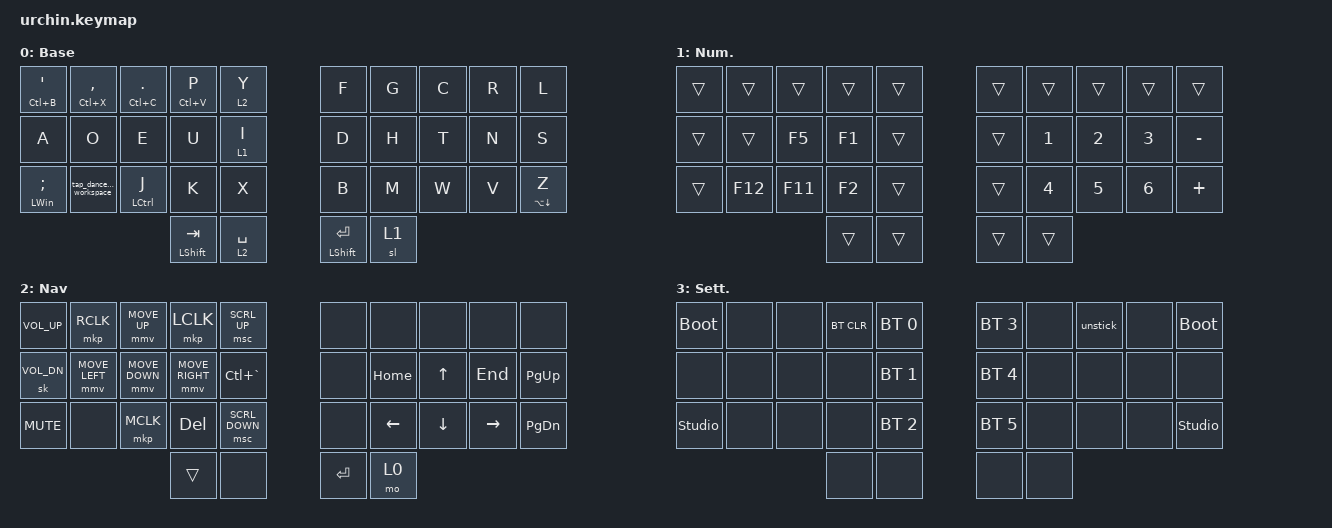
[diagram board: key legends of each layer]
/*
 * Copyright (c) 2020 duckyb
 *
 * SPDX-License-Identifier: MIT
 */

#include <behaviors.dtsi>
#include <dt-bindings/zmk/bt.h>
#include <dt-bindings/zmk/keys.h>
#include <dt-bindings/zmk/pointing.h>

// Layer definitions

#define BASE 0
#define SYM 1
#define EXT 2
#define FNC 3
#define SYM2 4
#define ACCENT 5
#define SETTINGS 6

// -----------------

&sk {
    // don't release mods on other mods presses

    ignore-modifiers;
};

/ {
    behaviors {
        // Enables holding the first mod-tap key
        // by performing a tap-release-hold sequence.
        // To use it: "&qt KEYCODE1 KEYCODE2"

        qt: quick_tap {
            compatible = "zmk,behavior-hold-tap";
            label = "QUICK_TAP";
            #binding-cells = <2>;
            flavor = "hold-preferred";
            tapping-term-ms = <200>;
            quick-tap-ms = <200>;
            bindings = <&kp>, <&kp>;
        };

        bhv_backspace_delete: bhv_backspace_delete {
            compatible = "zmk,behavior-mod-morph";
            label = "BHV_BACKSPACE_DELETE";
            bindings = <&kp BACKSPACE>, <&kp DELETE>;

            #binding-cells = <0>;
            mods = <(MOD_LSFT)>;
        };

        bhv_shft_bracket: bhv_shft_bracket {
            compatible = "zmk,behavior-mod-morph";
            label = "BHV_SHFT_BRACKET";
            bindings = <&macro_open_close_paren>, <&macro_opn_cls_square>;

            #binding-cells = <0>;
            mods = <(MOD_LSFT)>;
        };

        HMShiftL: HMShiftL {
            compatible = "zmk,behavior-hold-tap";
            label = "HMSHIFTL";
            bindings = <&kp>, <&kp>;

            #binding-cells = <2>;
            tapping-term-ms = <280>;
            hold-while-undecided;
            hold-trigger-on-release;
            hold-trigger-key-positions = <0 1 2 3 4 10 11 12 13 14 20 21 22 23 24>;
        };

        HMShiftR: HMShiftR {
            compatible = "zmk,behavior-hold-tap";
            label = "HMSHIFTR";
            bindings = <&kp>, <&kp>;

            #binding-cells = <2>;
            tapping-term-ms = <280>;
            hold-while-undecided;
            hold-trigger-on-release;
            hold-trigger-key-positions = <5 6 7 8 9 15 16 17 18 19 25 26 27 28 29>;
        };

        HML: HML {
            compatible = "zmk,behavior-hold-tap";
            label = "HML";
            bindings = <&kp>, <&kp>;

            #binding-cells = <2>;
            tapping-term-ms = <280>;
            hold-while-undecided;
            hold-trigger-on-release;
            hold-trigger-key-positions = <0 1 2 3 4 10 11 12 13 14 20 21 22 23 24 30 31>;
            flavor = "balanced";
        };

        HMR: HMR {
            compatible = "zmk,behavior-hold-tap";
            label = "HMR";
            bindings = <&kp>, <&kp>;

            #binding-cells = <2>;
            tapping-term-ms = <280>;
            hold-while-undecided;
            hold-trigger-on-release;
            hold-trigger-key-positions = <5 6 7 8 7 8 9 17 18 19 27 28 29 5 6 7 8 15 16 17 18 25 26 27 28 32 33>;
            flavor = "balanced";
        };

        tap_dance_q_workspace: tap_dance_q_workspace {
            compatible = "zmk,behavior-tap-dance";
            label = "TAP_DANCE_Q_WORKSPACE";
            #binding-cells = <0>;
            tapping-term-ms = <200>;
            bindings = <&mt LEFT_ALT Q>, <&mcr_show_workspaces>;
        };
    };

    macros {
        // sometimes my device thinks a modifier is being held down
        // pressing all modifiers fixes it.

        unstick: unstick {
            label = "ZM_unstick";
            compatible = "zmk,behavior-macro";
            #binding-cells = <0>;
            bindings = <&kp LSHIFT &kp RSHIFT &kp LCTRL &kp RCTRL &kp LALT &kp RALT &kp LGUI &kp RGUI>;
        };

        macro_open_close_paren: macro_open_close_paren {
            compatible = "zmk,behavior-macro";
            #binding-cells = <0>;
            bindings = <&kp LPAR &kp RPAR &kp LEFT_ARROW>;
            label = "MACRO_OPEN_CLOSE_PAREN";
        };

        macro_opn_cls_square: macro_opn_cls_square {
            compatible = "zmk,behavior-macro";
            #binding-cells = <0>;
            bindings = <&kp LBKT &kp RIGHT_BRACKET &kp LEFT_ARROW>;
            label = "MACRO_OPN_CLS_SQUARE";
        };

        mcr_show_workspaces: mcr_show_workspaces {
            compatible = "zmk,behavior-macro";
            #binding-cells = <0>;
            bindings = <&kp LC(LA(UP_ARROW))>;
            label = "MCR_SHOW_WORKSPACES";
        };

        mcr_text_and: mcr_text_and {
            compatible = "zmk,behavior-macro";
            #binding-cells = <0>;
            bindings = <&kp A &kp N &kp D>;
            label = "MCR_TEXT_AND";
        };

        mcr_text_the: mcr_text_the {
            compatible = "zmk,behavior-macro";
            #binding-cells = <0>;
            bindings = <&kp T &kp H &kp E>;
            label = "MCR_TEXT_THE";
        };

        mcr_text_you: mcr_text_you {
            compatible = "zmk,behavior-macro";
            #binding-cells = <0>;
            bindings = <&kp Y &kp O &kp U>;
            label = "MCR_TEXT_YOU";
        };
    };

    combos {
        compatible = "zmk,combos";

        // both right thumb keys
        // internal-left & external-right thumb keys
        // both left thumb keys

        combo_settings {
            timeout-ms = <200>;
            key-positions = <31 30>;
            bindings = <&mo 3>;
            layers = <3>;
        };

        // left index & middle fingers (home-row)
        // hold control & space for Adobe workflow

        combo_excl {
            bindings = <&kp EXCL>;
            key-positions = <5 15>;
        };

        combo_backspace {
            bindings = <&bhv_backspace_delete>;
            key-positions = <7 8>;
        };

        combo_question {
            bindings = <&kp QUESTION>;
            key-positions = <15 25>;
        };

        combo_plus {
            bindings = <&kp PLUS>;
            key-positions = <6 16>;
        };

        combo_minus {
            bindings = <&kp MINUS>;
            key-positions = <16 26>;
        };

        combo_multiply {
            bindings = <&kp ASTERISK>;
            key-positions = <7 17>;
        };

        combo_divide {
            bindings = <&kp SLASH>;
            key-positions = <17 27>;
        };

        combo_right_square {
            bindings = <&kp RIGHT_BRACKET>;
            key-positions = <5 6>;
        };

        combo_right_paren {
            bindings = <&kp RIGHT_PARENTHESIS>;
            key-positions = <15 16>;
        };

        combo_right_curly {
            bindings = <&kp RIGHT_BRACE>;
            key-positions = <25 26>;
        };

        combo_colon {
            bindings = <&kp COLON>;
            key-positions = <26 27>;
            layers = <0>;
        };

        combo_save_doc {
            bindings = <&kp LC(S)>;
            key-positions = <27 28>;
            layers = <0>;
        };

        combo_find {
            bindings = <&kp LC(F)>;
            key-positions = <15 17>;
        };

        combo_undo {
            bindings = <&kp LC(Z)>;
            key-positions = <26 28>;
        };

        combo_term_find {
            bindings = <&kp LC(R)>;
            key-positions = <6 8>;
        };

        combo_rightarrow {
            bindings = <&kp RIGHT>;
            key-positions = <26 27 28>;
        };

        combo_end {
            bindings = <&kp END>;
            key-positions = <26 27 28 29>;
        };

        combo_esc {
            bindings = <&kp ESCAPE>;
            key-positions = <13 16>;
        };

        combo_left_square {
            bindings = <&kp LEFT_BRACKET>;
            key-positions = <3 4>;
        };

        combo_left_paren {
            bindings = <&kp LEFT_PARENTHESIS>;
            key-positions = <13 14>;
        };

        combo_left_curly {
            bindings = <&kp LEFT_BRACE>;
            key-positions = <23 24>;
        };

        combo_printscreen {
            bindings = <&kp PRINTSCREEN>;
            key-positions = <2 3>;
        };

        combo_dollar {
            bindings = <&kp DOLLAR>;
            key-positions = <4 14>;
        };

        combo_at {
            bindings = <&kp AT>;
            key-positions = <3 13>;
        };

        combo_percent {
            bindings = <&kp PERCENT>;
            key-positions = <2 12>;
        };

        combo_hash {
            bindings = <&kp HASH>;
            key-positions = <1 11>;
        };

        combo_tilde {
            bindings = <&kp TILDE>;
            key-positions = <11 21>;
        };

        combo_home {
            bindings = <&kp HOME>;
            key-positions = <20 21 22 23>;
        };

        combo_left {
            bindings = <&kp LEFT>;
            key-positions = <21 22 23>;
        };

        combo_equals {
            bindings = <&kp EQUAL>;
            key-positions = <13 23>;
        };

        combo_underscore {
            bindings = <&kp UNDER>;
            key-positions = <14 24>;
        };

        combo_lt {
            bindings = <&kp LESS_THAN>;
            key-positions = <0 1>;
        };

        combo_gt {
            bindings = <&kp GREATER_THAN>;
            key-positions = <1 2>;
        };

        combo_backslash {
            bindings = <&kp BACKSLASH>;
            key-positions = <12 22>;
        };

        combo_grave {
            bindings = <&kp GRAVE>;
            key-positions = <20 21>;
        };

        combo_pipe {
            bindings = <&kp PIPE>;
            key-positions = <18 28>;
        };

        combo_amp {
            bindings = <&kp AMPS>;
            key-positions = <18 8>;
        };

        combo_delete {
            bindings = <&kp DELETE>;
            key-positions = <7 6>;
        };

        cmb_arrow_up {
            bindings = <&kp UP_ARROW>;
            key-positions = <9 19>;
        };

        cmb_arrow_down {
            bindings = <&kp DOWN>;
            key-positions = <19 29>;
        };

        combo_open_close_brack {
            bindings = <&bhv_shft_bracket>;
            key-positions = <15 16 17>;
        };

        ctrl-a {
            bindings = <&kp LC(A)>;
            key-positions = <22 23>;
        };

        shift_paste {
            bindings = <&kp LS(LC(V))>;
            key-positions = <21 12 23>;
        };

        shift_copy {
            bindings = <&kp LS(LC(C))>;
            key-positions = <12 1>;
        };

        shift_enter {
            bindings = <&kp LS(ENTER)>;
            key-positions = <22 23 26 27>;
        };

        combo_ctrl_enter {
            bindings = <&kp LC(ENTER)>;
            key-positions = <23 26 27>;
        };

        combo_for_7 {
            bindings = <&kp N7>;
            key-positions = <16 17>;
            layers = <1>;
        };

        combo_for_8 {
            bindings = <&kp N8>;
            key-positions = <17 18>;
            layers = <1>;
        };

        combo_for_9 {
            bindings = <&kp N9>;
            key-positions = <26 27>;
            layers = <1>;
        };

        combo_for_zero {
            bindings = <&kp N0>;
            key-positions = <27 28>;
            layers = <1>;
        };

        combo_text_the {
            bindings = <&mcr_text_the>;
            key-positions = <12 11 10>;
            layers = <1>;
        };
    };

    keymap {
        compatible = "zmk,keymap";

        // Base alpha layer

        default_layer {
            label = "Base";
            bindings = <
&mt LC(B) APOS     &mt LC(X) COMMA         &mt LC(C) PERIOD     &mt LC(V) P         &lt 2 Y      &kp F                     &kp G  &kp C  &kp R  &kp L
&kp A              &kp O                   &kp E                &kp U               &lt 1 I      &kp D                     &kp H  &kp T  &kp N  &kp S
&mt LEFT_WIN SEMI  &tap_dance_q_workspace  &HMR LEFT_CONTROL J  &kp K               &kp X        &kp B                     &kp M  &kp W  &kp V  &mt LA(DOWN) Z
                                                                &mt LEFT_SHIFT TAB  &lt 2 SPACE  &HMShiftL LEFT_SHIFT RET  &sl 1
            >;
        };

        numeric {
            bindings = <
&trans  &trans   &trans   &trans  &trans  &trans  &trans  &trans  &trans  &trans
&trans  &trans   &kp F5   &kp F1  &trans  &trans  &kp N1  &kp N2  &kp N3  &kp MINUS
&trans  &kp F12  &kp F11  &kp F2  &trans  &trans  &kp N4  &kp N5  &kp N6  &kp PLUS
                          &trans  &trans  &trans  &trans
            >;

            label = "Num.";
        };

        nav {
            label = "Nav";
            bindings = <
&kp C_VOLUME_UP  &mkp RCLK       &mmv MOVE_UP    &mkp LCLK        &msc SCRL_UP    &none      &none     &none     &none      &none
&sk C_VOL_DN     &mmv MOVE_LEFT  &mmv MOVE_DOWN  &mmv MOVE_RIGHT  &kp LC(GRAVE)   &none      &kp HOME  &kp UP    &kp END    &kp PAGE_UP
&kp K_MUTE       &none           &mkp MCLK       &kp DELETE       &msc SCRL_DOWN  &none      &kp LEFT  &kp DOWN  &kp RIGHT  &kp PAGE_DOWN
                                                 &trans           &none           &kp ENTER  &mo 0
            >;
        };

        settings_layer {
            label = "Sett.";
            bindings = <
&bootloader     &none  &none  &bt BT_CLR  &bt BT_SEL 0  &bt BT_SEL 3  &none  &unstick  &none  &bootloader
&none           &none  &none  &none       &bt BT_SEL 1  &bt BT_SEL 4  &none  &none     &none  &none
&studio_unlock  &none  &none  &none       &bt BT_SEL 2  &bt BT_SEL 5  &none  &none     &none  &studio_unlock
                              &none       &none         &none         &none
            >;
        };
    };
};
